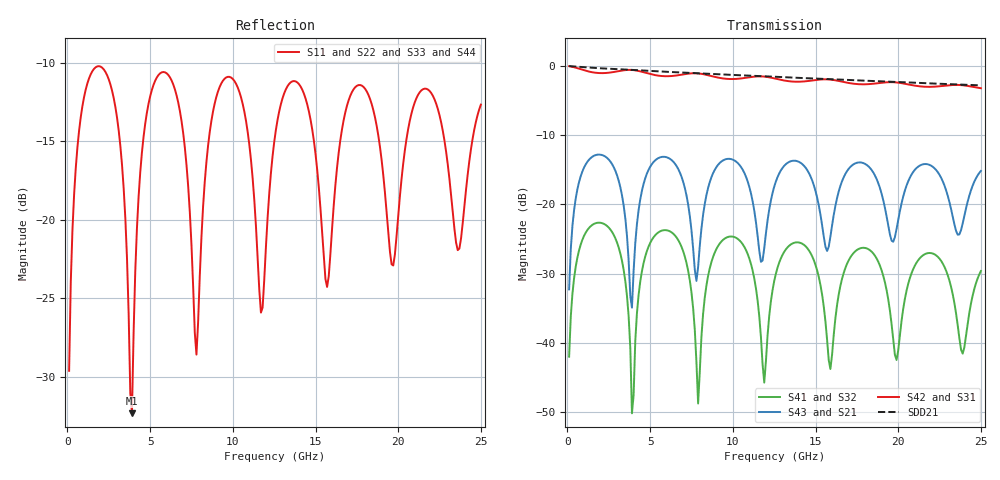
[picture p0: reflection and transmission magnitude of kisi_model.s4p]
! kisi T_ts6_diff_sl: fast channel model (formula impedances, via model), up to 25 GHz
# Hz S RI R 50
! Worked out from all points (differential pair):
!   250 points, 100 MHz to 25 GHz, reference 50 ohm
!   strongest paths, dB at 100 MHz, 6.3 GHz, 12.6 GHz, 18.8 GHz, 25 GHz:
!     S42: -0.1, -1.5, -1.9, -2.5, -3.3
!     S31: -0.1, -1.5, -1.9, -2.5, -3.3
!     S43: -32.3, -13.6, -16.7, -17.0, -15.2
!     S21: -32.3, -13.6, -16.7, -17.0, -15.2
!     S41: -42.0, -24.1, -30.0, -28.3, -29.6
!     S32: -42.0, -24.1, -30.0, -28.3, -29.6
!   taken as a pair (ports 2,1 in; 4,3 out), SDD21 dB: -0.1, -0.9, -1.6, -2.3, -2.9
!   lowest |S11| = -32.3 dB at 3.9 GHz (marker M1), VSWR 1.05, Z = 52.3 + j0.968 ohm
!   |S11| at or under -10 dB: start of sweep to end of sweep
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1e8  0.0113 0.0311  0.00298 0.0242  0.9855 -0.0932  -0.00164 -0.0078
     0.00298 0.0242  0.0113 0.0311  -0.00164 -0.0078  0.9855 -0.0932
     0.9855 -0.0932  -0.00164 -0.0078  0.0113 0.0311  0.00298 0.0242
     -0.00164 -0.0078  0.9855 -0.0932  0.00298 0.0242  0.0113 0.0311
3.9e9  0.0224 0.00925  0.0167 0.00663  -0.9289 0.0331  0.00136 -0.0028
       0.0167 0.00663  0.0224 0.00925  0.00136 -0.0028  -0.9289 0.0331
       -0.9289 0.0331  0.00136 -0.0028  0.0224 0.00925  0.0167 0.00663
       0.00136 -0.0028  -0.9289 0.0331  0.0167 0.00663  0.0224 0.00925
7.7e9  0.0387 -0.0205  0.0293 -0.0168  0.878 0.0629  -0.00417 0.0117
       0.0293 -0.0168  0.0387 -0.0205  -0.00417 0.0117  0.878 0.0629
       0.878 0.0629  -0.00417 0.0117  0.0387 -0.0205  0.0293 -0.0168
       -0.00417 0.0117  0.878 0.0629  0.0293 -0.0168  0.0387 -0.0205
1.17e10  0.0502 -0.00708  0.0379 -0.00673  -0.8355 -0.0193  0.00443 -0.0101
         0.0379 -0.00673  0.0502 -0.00708  0.00443 -0.0101  -0.8355 -0.0193
         -0.8355 -0.0193  0.00443 -0.0101  0.0502 -0.00708  0.0379 -0.00673
         0.00443 -0.0101  -0.8355 -0.0193  0.0379 -0.00673  0.0502 -0.00708
1.55e10  0.0672 -0.035  0.051 -0.0284  0.7862 0.123  -0.00902 0.0159
         0.051 -0.0284  0.0672 -0.035  -0.00902 0.0159  0.7862 0.123
         0.7862 0.123  -0.00902 0.0159  0.0672 -0.035  0.051 -0.0284
         -0.00902 0.0159  0.7862 0.123  0.051 -0.0284  0.0672 -0.035
1.96e10  0.0716 -0.00966  0.0539 -0.00912  -0.7585 -0.0317  0.00644 -0.0121
         0.0539 -0.00912  0.0716 -0.00966  0.00644 -0.0121  -0.7585 -0.0317
         -0.7585 -0.0317  0.00644 -0.0121  0.0716 -0.00966  0.0539 -0.00912
         0.00644 -0.0121  -0.7585 -0.0317  0.0539 -0.00912  0.0716 -0.00966
2.5e10  0.2214 0.0716  0.1662 0.0511  0.3051 -0.6149  -0.0182 0.0276
        0.1662 0.0511  0.2214 0.0716  -0.0182 0.0276  0.3051 -0.6149
        0.3051 -0.6149  -0.0182 0.0276  0.2214 0.0716  0.1662 0.0511
        -0.0182 0.0276  0.3051 -0.6149  0.1662 0.0511  0.2214 0.0716
